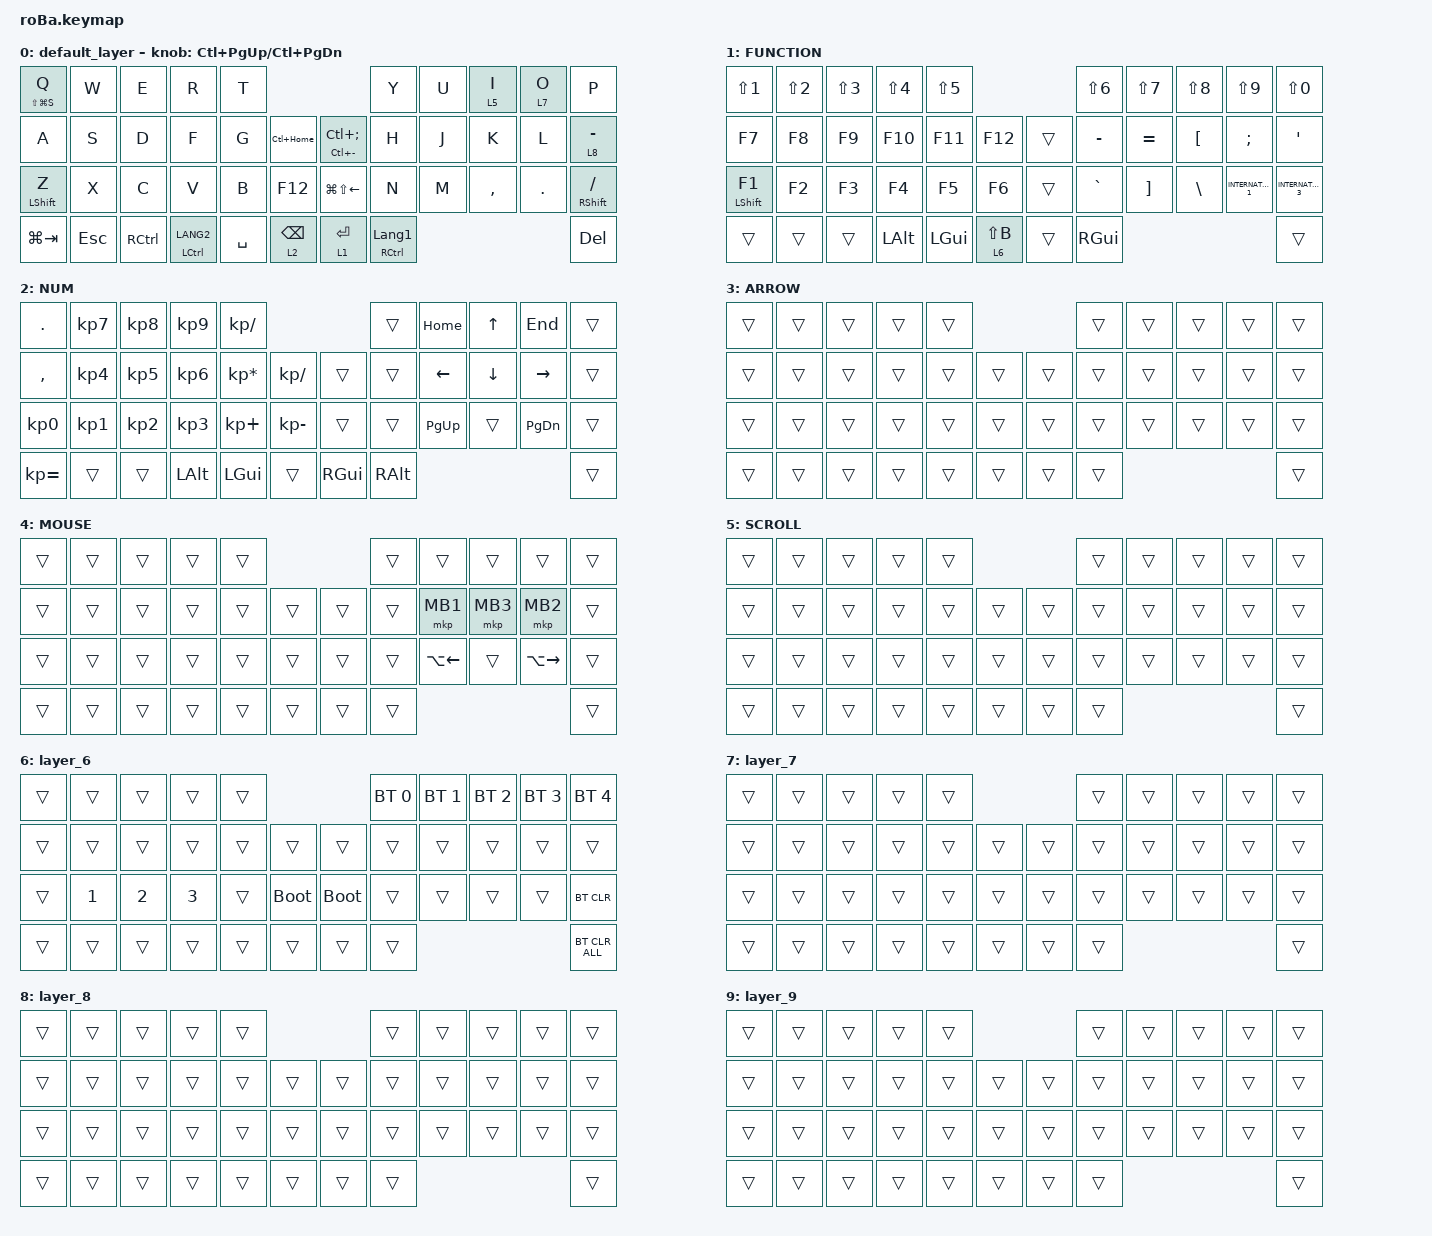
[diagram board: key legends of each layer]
#include <behaviors.dtsi>
#include <dt-bindings/zmk/bt.h>
#include <dt-bindings/zmk/keys.h>
#include <dt-bindings/zmk/pointing.h>

&mt {
    flavor = "balanced";
    quick-tap-ms = <0>;
};

&lt { quick-tap-ms = <200>; };

&trackball {
    automouse-layer = <4>;
    scroll-layers = <5>;

    /* ▼ 「O (レイヤー7)」を押しながらのジェスチャー ▼ */

    arrows_1 {
        layers = <7>;
        bindings =
            <&kp LG(RIGHT_ARROW)>, /* 右: Command + → */
            <&kp LG(LEFT_ARROW)>, /* 左: Command + ← */
            <&kp LG(UP_ARROW)>, /* 上: Command + ↑ */
            <&kp LG(DOWN_ARROW)>; /* 下: Command + ↓ */
        tick = <1000>;
        wait-ms = <5>;
        tap-ms = <5>;
    };

    /* ▼ 「- (レイヤー8)」を押しながらのジェスチャー ▼ */

    arrows_2 {
        layers = <8>;
        bindings =
            <&kp LC(PAGE_DOWN)>, /* 右: Control + PageDown (右のタブへ) */
            <&kp LC(PAGE_UP)>, /* 左: Control + PageUp (左のタブへ) */
            <&kp LC(T)>, /* 上: Control + T */
            <&kp LC(W)>; /* 下: Control + W */
        tick = <300>;
        wait-ms = <5>;
        tap-ms = <5>;
    };

    /* ▼ 新規追加（レイヤー9）を押しながらのジェスチャー ▼ */

    arrows_3 {
        layers = <9>;
        bindings =
            <&kp LG(LC(LEFT_ARROW))>, /* 右: Win + Ctrl + → */
            <&kp LG(LC(RIGHT_ARROW))>, /* 左: Win + Ctrl + ← */
            <&kp LG(TAB)>, /* 上: Win + Tab */
            <&kp LG(LA(L))>; /* 下: Command + Option + L */
        tick = <300>;
        wait-ms = <5>;
        tap-ms = <5>;
    };
};

/ {
    combos {
        compatible = "zmk,combos";

        BackSpace {
            bindings = <&kp BACKSPACE>;
            key-positions = <11 12>;
        };

        Enter {
            bindings = <&kp ENTER>;
            key-positions = <23 24>;
        };

        Tab {
            bindings = <&kp TAB>;
            key-positions = <1 2>;
        };

        Delete {
            bindings = <&kp DELETE>;
            key-positions = <13 12>;
        };

        ballgesture {
            bindings = <&mo 9>;
            key-positions = <8 7>;
        };

        BackSpace_R {
            bindings = <&kp BACKSPACE>;
            key-positions = <19 20>;
        };

        Delete_R {
            bindings = <&kp DELETE>;
            key-positions = <19 18>;
        };

        Enter_R {
            bindings = <&kp ENTER>;
            key-positions = <31 32>;
        };
    };

    macros {
        to_layer_0: to_layer_0 {
            compatible = "zmk,behavior-macro-one-param";
            #binding-cells = <1>;
            bindings = <&to 0 &macro_param_1to1 &kp MACRO_PLACEHOLDER>;
            label = "TO_LAYER_0";
        };
    };

    behaviors {
        lt_to_layer_0: lt_to_layer_0 {
            compatible = "zmk,behavior-hold-tap";
            label = "LAYER_TAP_TO_0";
            bindings = <&mo>, <&to_layer_0>;

            #binding-cells = <2>;
            tapping-term-ms = <200>;
        };
    };

    keymap {
        compatible = "zmk,keymap";

        default_layer {
            bindings = <
&mt LS(LG(S)) Q   &kp W       &kp E              &kp R                   &kp T                                                   &kp Y                         &kp U  &lt 5 I    &lt 7 O  &kp P
&kp A             &kp S       &kp D              &kp F                   &kp G      &kp LC(HOME)         &mt LC(MINUS) LC(SEMI)  &kp H                         &kp J  &kp K      &kp L    &lt 8 MINUS
&mt LEFT_SHIFT Z  &kp X       &kp C              &kp V                   &kp B      &kp F12              &kp LG(LS(LEFT_ARROW))  &kp N                         &kp M  &kp COMMA  &kp DOT  &mt RIGHT_SHIFT SLASH
&kp LG(TAB)       &kp ESCAPE  &kp RIGHT_CONTROL  &mt LEFT_CONTROL LANG2  &kp SPACE  &lt 2 BACKSPACE      &lt 1 ENTER             &mt RIGHT_CONTROL LANGUAGE_1                             &kp DELETE
            >;

            sensor-bindings = <&inc_dec_kp LC(PG_UP) LC(PAGE_DOWN)>;
        };

        FUNCTION {
            bindings = <
&kp LS(NUMBER_1)   &kp LS(NUMBER_2)  &kp LS(NUMBER_3)  &kp LS(NUMBER_4)  &kp LS(N5)                             &kp LS(NUMBER_6)  &kp LS(N7)         &kp LS(N8)        &kp LS(N9)           &kp LS(N0)
&kp F7             &kp F8            &kp F9            &kp F10           &kp F11       &kp F12          &trans  &kp MINUS         &kp EQUAL          &kp LEFT_BRACKET  &kp SEMI             &kp APOS
&mt LEFT_SHIFT F1  &kp F2            &kp F3            &kp F4            &kp F5        &kp F6           &trans  &kp GRAVE         &kp RIGHT_BRACKET  &kp BACKSLASH     &kp INTERNATIONAL_1  &kp INTERNATIONAL_3
&trans             &trans            &trans            &kp LEFT_ALT      &kp LEFT_GUI  &lt 6 LS(B)      &trans  &kp RIGHT_GUI                                                               &trans
            >;
        };

        NUM {
            bindings = <
&kp PERIOD       &kp KP_NUMBER_7  &kp KP_NUMBER_8  &kp KP_NUMBER_9  &kp KP_DIVIDE                                      &trans         &kp HOME        &kp UP_ARROW    &kp END          &trans
&kp COMMA        &kp KP_NUMBER_4  &kp KP_NUMBER_5  &kp KP_NUMBER_6  &kp KP_ASTERISK  &kp KP_DIVIDE      &trans         &trans         &kp LEFT_ARROW  &kp DOWN_ARROW  &kp RIGHT_ARROW  &trans
&kp KP_NUMBER_0  &kp KP_NUMBER_1  &kp KP_NUMBER_2  &kp KP_NUMBER_3  &kp KP_PLUS      &kp KP_MINUS       &trans         &trans         &kp PG_UP       &trans          &kp PAGE_DOWN    &trans
&kp KP_EQUAL     &trans           &trans           &kp LEFT_ALT     &kp LEFT_GUI     &trans             &kp RIGHT_GUI  &kp RIGHT_ALT                                                   &trans
            >;
        };

        ARROW {
            bindings = <
&trans  &trans  &trans  &trans  &trans                      &trans  &trans  &trans  &trans  &trans
&trans  &trans  &trans  &trans  &trans  &trans      &trans  &trans  &trans  &trans  &trans  &trans
&trans  &trans  &trans  &trans  &trans  &trans      &trans  &trans  &trans  &trans  &trans  &trans
&trans  &trans  &trans  &trans  &trans  &trans      &trans  &trans                          &trans
            >;
        };

        MOUSE {
            bindings = <
&trans  &trans  &trans  &trans  &trans                      &trans  &trans              &trans    &trans               &trans
&trans  &trans  &trans  &trans  &trans  &trans      &trans  &trans  &mkp MB1            &mkp MB3  &mkp MB2             &trans
&trans  &trans  &trans  &trans  &trans  &trans      &trans  &trans  &kp LA(LEFT_ARROW)  &trans    &kp LA(RIGHT_ARROW)  &trans
&trans  &trans  &trans  &trans  &trans  &trans      &trans  &trans                                                     &trans
            >;
        };

        SCROLL {
            bindings = <
&trans  &trans  &trans  &trans  &trans                      &trans  &trans  &trans  &trans  &trans
&trans  &trans  &trans  &trans  &trans  &trans      &trans  &trans  &trans  &trans  &trans  &trans
&trans  &trans  &trans  &trans  &trans  &trans      &trans  &trans  &trans  &trans  &trans  &trans
&trans  &trans  &trans  &trans  &trans  &trans      &trans  &trans                          &trans
            >;
        };

        layer_6 {
            bindings = <
&trans  &trans        &trans        &trans        &trans                                &bt BT_SEL 0  &bt BT_SEL 1  &bt BT_SEL 2  &bt BT_SEL 3  &bt BT_SEL 4
&trans  &trans        &trans        &trans        &trans  &trans           &trans       &trans        &trans        &trans        &trans        &trans
&trans  &kp NUMBER_1  &kp NUMBER_2  &kp NUMBER_3  &trans  &bootloader      &bootloader  &trans        &trans        &trans        &trans        &bt BT_CLR
&trans  &trans        &trans        &trans        &trans  &trans           &trans       &trans                                                  &bt BT_CLR_ALL
            >;
        };

        layer_7 {
            bindings = <
&trans  &trans  &trans  &trans  &trans                      &trans  &trans  &trans  &trans  &trans
&trans  &trans  &trans  &trans  &trans  &trans      &trans  &trans  &trans  &trans  &trans  &trans
&trans  &trans  &trans  &trans  &trans  &trans      &trans  &trans  &trans  &trans  &trans  &trans
&trans  &trans  &trans  &trans  &trans  &trans      &trans  &trans                          &trans
            >;
        };

        layer_8 {
            bindings = <
&trans  &trans  &trans  &trans  &trans                      &trans  &trans  &trans  &trans  &trans
&trans  &trans  &trans  &trans  &trans  &trans      &trans  &trans  &trans  &trans  &trans  &trans
&trans  &trans  &trans  &trans  &trans  &trans      &trans  &trans  &trans  &trans  &trans  &trans
&trans  &trans  &trans  &trans  &trans  &trans      &trans  &trans                          &trans
            >;
        };

        layer_9 {
            bindings = <
&trans  &trans  &trans  &trans  &trans                      &trans  &trans  &trans  &trans  &trans
&trans  &trans  &trans  &trans  &trans  &trans      &trans  &trans  &trans  &trans  &trans  &trans
&trans  &trans  &trans  &trans  &trans  &trans      &trans  &trans  &trans  &trans  &trans  &trans
&trans  &trans  &trans  &trans  &trans  &trans      &trans  &trans                          &trans
            >;
        };
    };
};
